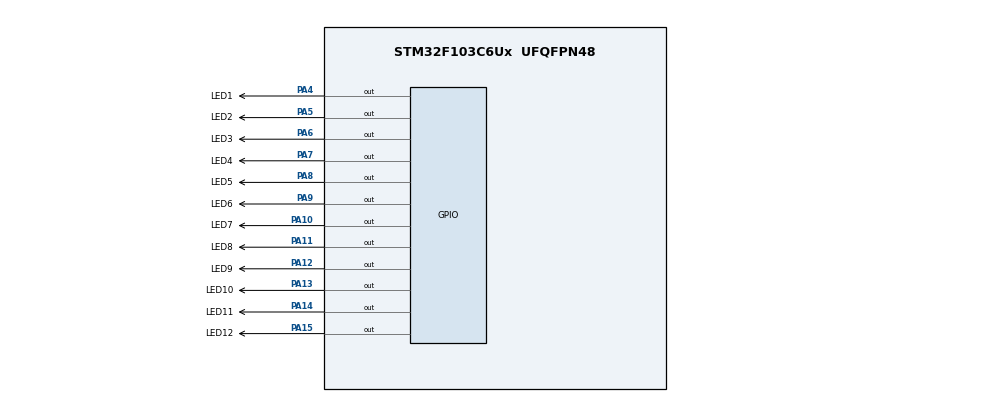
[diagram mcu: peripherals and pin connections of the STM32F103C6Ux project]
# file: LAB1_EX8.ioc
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Mcu.Family=STM32F1
Mcu.Name=STM32F103C6Ux
Mcu.Package=UFQFPN48
NVIC.PriorityGroup=NVIC_PRIORITYGROUP_4
PA10.GPIO_Label=LED7
PA10.Signal=GPIO_Output
PA11.GPIO_Label=LED8
PA11.Signal=GPIO_Output
PA12.GPIO_Label=LED9
PA12.Signal=GPIO_Output
PA13.GPIO_Label=LED10
PA13.Signal=GPIO_Output
PA14.GPIO_Label=LED11
PA14.Signal=GPIO_Output
PA15.GPIO_Label=LED12
PA15.Signal=GPIO_Output
PA4.GPIO_Label=LED1
PA4.Signal=GPIO_Output
PA5.GPIO_Label=LED2
PA5.Signal=GPIO_Output
PA6.GPIO_Label=LED3
PA6.Signal=GPIO_Output
PA7.GPIO_Label=LED4
PA7.Signal=GPIO_Output
PA8.GPIO_Label=LED5
PA8.Signal=GPIO_Output
PA9.GPIO_Label=LED6
PA9.Signal=GPIO_Output
ProjectManager.HeapSize=0x200
ProjectManager.StackSize=0x400
ProjectManager.TargetToolchain=STM32CubeIDE
RCC.APB1Freq_Value=8000000
RCC.APB2Freq_Value=8000000
VP_SYS_VS_ND.Mode=No_Debug
board=custom

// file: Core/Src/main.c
/* USER CODE BEGIN Header */
/**
  ******************************************************************************
  * @file           : main.c
  * @brief          : Main program body
  ******************************************************************************
  * @attention
  *
  * <h2><center>&copy; Copyright (c) 2024 STMicroelectronics.
  * All rights reserved.</center></h2>
  *
  * This software component is licensed by ST under BSD 3-Clause license,
  * the "License"; You may not use this file except in compliance with the
  * License. You may obtain a copy of the License at:
  *                        opensource.org/licenses/BSD-3-Clause
  *
  ******************************************************************************
  */
/* USER CODE END Header */
#include "main.h"

void SystemClock_Config(void);
static void MX_GPIO_Init(void);

int main(void)
{

  /* MCU Configuration--------------------------------------------------------*/

  /* Reset of all peripherals, Initializes the Flash interface and the Systick. */
  HAL_Init();

  /* Configure the system clock */
  SystemClock_Config();

  /* Initialize all configured peripherals */
  MX_GPIO_Init();

  /* Infinite loop */
  /* USER CODE BEGIN WHILE */
	void setNumberOnClock(int num) {
		if (num == 1)
			HAL_GPIO_WritePin(LED1_GPIO_Port, LED1_Pin, SET);
		if (num == 2)
			HAL_GPIO_WritePin(LED2_GPIO_Port, LED2_Pin, SET);
		if (num == 3)
			HAL_GPIO_WritePin(LED3_GPIO_Port, LED3_Pin, SET);
		if (num == 4)
			HAL_GPIO_WritePin(LED4_GPIO_Port, LED4_Pin, SET);
		if (num == 5)
			HAL_GPIO_WritePin(LED5_GPIO_Port, LED5_Pin, SET);
		if (num == 6)
			HAL_GPIO_WritePin(LED6_GPIO_Port, LED6_Pin, SET);
		if (num == 7)
			HAL_GPIO_WritePin(LED7_GPIO_Port, LED7_Pin, SET);
		if (num == 8)
			HAL_GPIO_WritePin(LED8_GPIO_Port, LED8_Pin, SET);
		if (num == 9)
			HAL_GPIO_WritePin(LED9_GPIO_Port, LED9_Pin, SET);
		if (num == 10)
			HAL_GPIO_WritePin(LED10_GPIO_Port, LED10_Pin, SET);
		if (num == 11)
			HAL_GPIO_WritePin(LED11_GPIO_Port, LED11_Pin, SET);
		if (num == 12)
			HAL_GPIO_WritePin(LED12_GPIO_Port, LED12_Pin, SET);
	}

  while (1)
  {
    /* USER CODE END WHILE */

  }
}

void SystemClock_Config(void)
{
  RCC_OscInitTypeDef RCC_OscInitStruct = {0};
  RCC_ClkInitTypeDef RCC_ClkInitStruct = {0};

  /** Initializes the RCC Oscillators according to the specified parameters
  * in the RCC_OscInitTypeDef structure.
  */
  RCC_OscInitStruct.OscillatorType = RCC_OSCILLATORTYPE_HSI;
  RCC_OscInitStruct.HSIState = RCC_HSI_ON;
  RCC_OscInitStruct.HSICalibrationValue = RCC_HSICALIBRATION_DEFAULT;
  RCC_OscInitStruct.PLL.PLLState = RCC_PLL_NONE;
  if (HAL_RCC_OscConfig(&RCC_OscInitStruct) != HAL_OK)
  {
    Error_Handler();
  }
  /** Initializes the CPU, AHB and APB buses clocks
  */
  RCC_ClkInitStruct.ClockType = RCC_CLOCKTYPE_HCLK|RCC_CLOCKTYPE_SYSCLK
                              |RCC_CLOCKTYPE_PCLK1|RCC_CLOCKTYPE_PCLK2;
  RCC_ClkInitStruct.SYSCLKSource = RCC_SYSCLKSOURCE_HSI;
  RCC_ClkInitStruct.AHBCLKDivider = RCC_SYSCLK_DIV1;
  RCC_ClkInitStruct.APB1CLKDivider = RCC_HCLK_DIV1;
  RCC_ClkInitStruct.APB2CLKDivider = RCC_HCLK_DIV1;

  if (HAL_RCC_ClockConfig(&RCC_ClkInitStruct, FLASH_LATENCY_0) != HAL_OK)
  {
    Error_Handler();
  }
}

static void MX_GPIO_Init(void)
{
  GPIO_InitTypeDef GPIO_InitStruct = {0};

  /* GPIO Ports Clock Enable */
  __HAL_RCC_GPIOA_CLK_ENABLE();

  /*Configure GPIO pin Output Level */
  HAL_GPIO_WritePin(GPIOA, LED1_Pin|LED2_Pin|LED3_Pin|LED4_Pin
                          |LED5_Pin|LED6_Pin|LED7_Pin|LED8_Pin
                          |LED9_Pin|LED10_Pin|LED11_Pin|LED12_Pin, GPIO_PIN_RESET);

  /*Configure GPIO pins : LED1_Pin LED2_Pin LED3_Pin LED4_Pin
                           LED5_Pin LED6_Pin LED7_Pin LED8_Pin
                           LED9_Pin LED10_Pin LED11_Pin LED12_Pin */
  GPIO_InitStruct.Pin = LED1_Pin|LED2_Pin|LED3_Pin|LED4_Pin
                          |LED5_Pin|LED6_Pin|LED7_Pin|LED8_Pin
                          |LED9_Pin|LED10_Pin|LED11_Pin|LED12_Pin;
  GPIO_InitStruct.Mode = GPIO_MODE_OUTPUT_PP;
  GPIO_InitStruct.Pull = GPIO_NOPULL;
  GPIO_InitStruct.Speed = GPIO_SPEED_FREQ_LOW;
  HAL_GPIO_Init(GPIOA, &GPIO_InitStruct);

}

void Error_Handler(void)
{
  __disable_irq();
  while (1)
  {
  }
}

/************************ (C) COPYRIGHT STMicroelectronics *****END OF FILE****/
